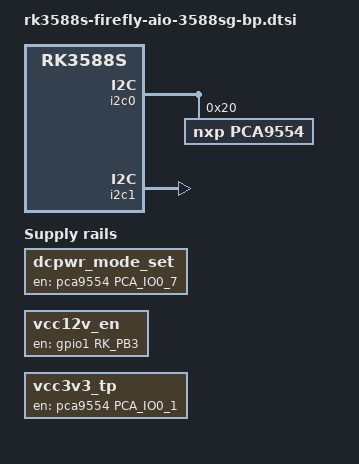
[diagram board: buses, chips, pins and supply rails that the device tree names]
// SPDX-License-Identifier: (GPL-2.0+ OR MIT)
/*
 * Copyright (c) 2022 T-chip Firefly Electronics Co., Ltd.
 *
 */


/ {

    dcpwr_mode_set: dcpwr-mode-set-regulator {
        compatible = "regulator-fixed";
        regulator-name = "dcpwr_mode_set";
        regulator-boot-on;
        regulator-always-on;
        enable-active-high;
        gpio = <&pca9554 PCA_IO0_7 GPIO_ACTIVE_HIGH>;
    };


	vcc12v_en: vcc12v-en {
		compatible = "regulator-fixed";
		regulator-name = "vcc12v_en";
		regulator-boot-on;
		regulator-always-on;
		enable-active-high;
		gpio = <&gpio1 RK_PB3 GPIO_ACTIVE_HIGH>;
		status = "okay";
       };

        vcc3v3_tp: vcc3v3-tp {
                compatible = "regulator-fixed";
                regulator-name = "vcc3v3_tp";
                regulator-boot-on;
                regulator-always-on;
                enable-active-high;
                gpio = <&pca9554 PCA_IO0_1 GPIO_ACTIVE_HIGH>;
                status = "okay";
       };
};

&spi0 {
	status = "disabled";
	pinctrl-names = "default";
	pinctrl-0 = <&spi0m2_cs0 &spi0m2_pins>;
	num-cs = <1>;
};

&i2c0 {
	status = "okay";
	pinctrl-names = "default";
	pinctrl-0 = <&i2c0m2_xfer>;

	pca9554: pca9554@20 {
		status = "okay";
		compatible = "nxp,pca9554";
		reg = <0x20>;
		gpio-controller;
		#gpio-cells = <2>;
		gpio-group-num = <180>;
	};

};

&i2c1 {
	status = "okay";
	pinctrl-names = "default";
	pinctrl-0 = <&i2c1m4_xfer>;
};

